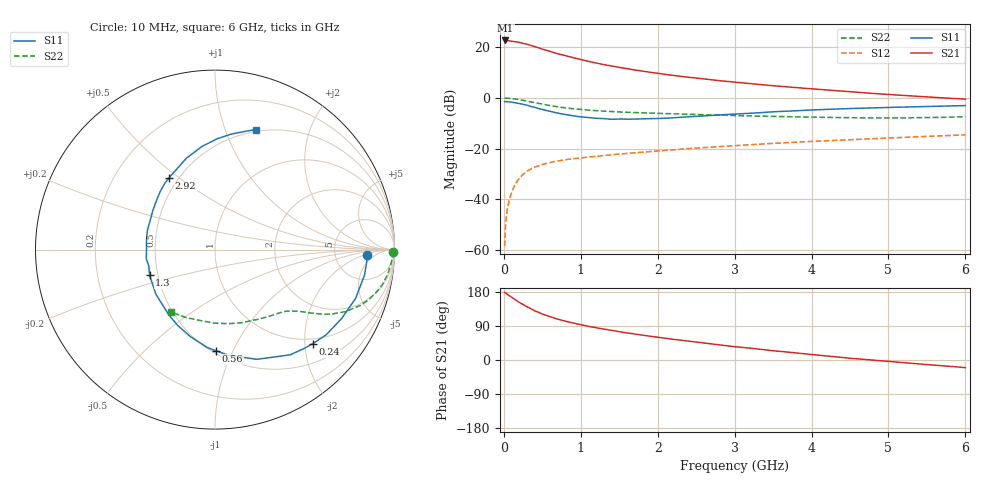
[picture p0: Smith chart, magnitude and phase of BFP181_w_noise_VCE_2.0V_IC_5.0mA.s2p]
! Infineon Technologies  Discrete & RF Semiconductors
! BFP181
! VCE = 2.0 V,  IC =  5.0 mA
! Common Emitter S-Parameters:  Jan 2016
# GHz  S  MA  R  50
!  f  S11  S21  S12  S22
! GHz  MAG  ANG  MAG  ANG  MAG  ANG  MAG  ANG
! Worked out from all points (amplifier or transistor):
!   210 points, 10 MHz to 6 GHz, reference 50 ohm
!   highest |S21| = 22.7 dB at 20 MHz (marker M1)
!   |S21| within 3 dB of that: start of sweep to 459.1 MHz
!   unconditionally stable (mu >= 1): 1.591 GHz to end of sweep
!   at 185 MHz: K = 0.18, MSG = 27.1 dB, |S12| = -32.3 dB
!   at 1.52 GHz: K = 0.97, MSG = 17.0 dB, |S12| = -22.1 dB
!   at 6 GHz: K = 1.04, MAG = 5.8 dB, |S12| = -14.5 dB
!   lowest NFmin = 1.55 dB at 450 MHz
!   S11 on the Smith chart (normalised r, x): 10 MHz: 11, -2; 240 MHz: 0.89, -2.17; 560 MHz: 0.52, -0.86; 1.3 GHz: 0.45, -0.15; 2.92 GHz: 0.45, +0.46; 6 GHz: 0.48, +1.29
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0.01  0.8446 -2.0  13.48 178.6  0.0012 88.8  0.9897 -0.7
0.02  0.8487 -4.0  13.58 177.5  0.0027 88.3  0.9893 -1.7
0.06  0.84 -11.6  13.43 171.3  0.0084 83.6  0.9825 -4.9
0.15  0.8031 -28.6  12.91 158.6  0.0201 74.5  0.9527 -11.9
0.2  0.78 -37.6  12.48 152.1  0.0261 70.1  0.9264 -15.2
0.24  0.7556 -44.0  11.99 147.2  0.0301 66.9  0.9033 -17.7
0.3  0.7208 -54.4  11.45 140.6  0.036 63.0  0.8674 -21.0
0.4  0.6543 -69.1  10.32 129.9  0.0433 56.7  0.8065 -25.3
0.5  0.5935 -82.7  9.172 121.4  0.0489 51.9  0.7517 -28.4
0.56  0.5636 -89.4  8.633 117.3  0.0516 49.9  0.7247 -29.7
0.7  0.5034 -105.9  7.433 107.8  0.0573 46.1  0.668 -32.3
0.8  0.4711 -116.1  6.806 102.2  0.0606 43.8  0.6378 -33.6
1.02  0.421 -135.9  5.592 92.1  0.0662 41.5  0.5886 -35.9
1.3  0.3917 -158.5  4.536 81.4  0.0732 39.3  0.5496 -38.5
1.58  0.3819 -178.0  3.819 72.1  0.0799 38.8  0.5237 -41.0
2.02  0.3946 157.8  3.017 59.5  0.0908 37.4  0.4959 -46.2
2.42  0.4259 140.1  2.538 49.2  0.1009 36.0  0.4767 -51.7
2.92  0.4737 122.8  2.104 37.1  0.1128 34.0  0.4536 -59.3
3.1  0.4892 117.5  1.982 33.3  0.1173 33.2  0.4457 -62.4
4.1  0.5865 95.3  1.472 12.5  0.1414 27.4  0.4162 -82.0
5.1  0.6556 80.6  1.144 -5.4  0.1643 21.7  0.4042 -104.3
6  0.7076 71.0  0.948 -20.1  0.1873 15.5  0.4253 -124.9
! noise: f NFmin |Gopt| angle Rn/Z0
0.45  1.55  0.48  17  0.36
0.9  1.65  0.4  35  0.34
1.8  2  0.18  88  0.34
